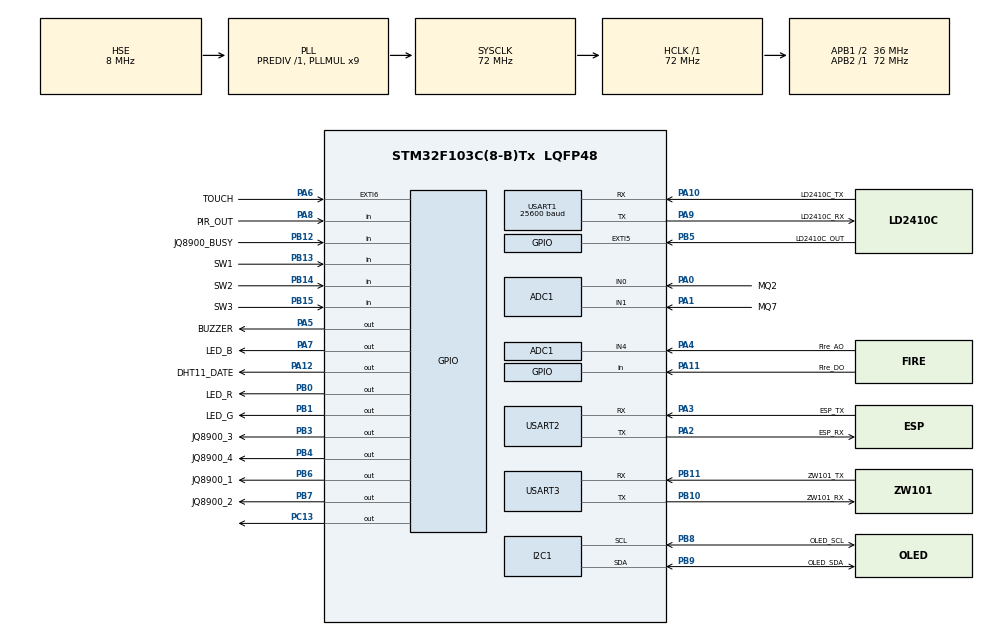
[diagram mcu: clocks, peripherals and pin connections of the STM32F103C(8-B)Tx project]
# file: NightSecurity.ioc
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ADC1.Channel-0\#ChannelRegularConversion=ADC_CHANNEL_0
ADC1.Channel-1\#ChannelRegularConversion=ADC_CHANNEL_1
ADC1.Channel-2\#ChannelRegularConversion=ADC_CHANNEL_4
ADC1.ExternalTrigConv=ADC_EXTERNALTRIGCONV_T3_TRGO
ADC1.NbrOfConversion=3
ADC1.NbrOfConversionFlag=1
ADC1.Rank-0\#ChannelRegularConversion=1
ADC1.Rank-1\#ChannelRegularConversion=2
ADC1.Rank-2\#ChannelRegularConversion=3
ADC1.SamplingTime-0\#ChannelRegularConversion=ADC_SAMPLETIME_239CYCLES_5
ADC1.SamplingTime-1\#ChannelRegularConversion=ADC_SAMPLETIME_239CYCLES_5
ADC1.SamplingTime-2\#ChannelRegularConversion=ADC_SAMPLETIME_239CYCLES_5
ADC1.master=1
Dma.ADC1.0.Direction=DMA_PERIPH_TO_MEMORY
Dma.ADC1.0.Instance=DMA1_Channel1
Dma.ADC1.0.MemDataAlignment=DMA_MDATAALIGN_HALFWORD
Dma.ADC1.0.MemInc=DMA_MINC_ENABLE
Dma.ADC1.0.Mode=DMA_CIRCULAR
Dma.ADC1.0.PeriphDataAlignment=DMA_PDATAALIGN_HALFWORD
Dma.ADC1.0.PeriphInc=DMA_PINC_DISABLE
Dma.ADC1.0.Priority=DMA_PRIORITY_LOW
Dma.Request0=ADC1
Dma.Request1=USART1_RX
Dma.Request2=USART2_RX
Dma.USART1_RX.1.Direction=DMA_PERIPH_TO_MEMORY
Dma.USART1_RX.1.Instance=DMA1_Channel5
Dma.USART1_RX.1.MemDataAlignment=DMA_MDATAALIGN_BYTE
Dma.USART1_RX.1.MemInc=DMA_MINC_ENABLE
Dma.USART1_RX.1.Mode=DMA_CIRCULAR
Dma.USART1_RX.1.PeriphDataAlignment=DMA_PDATAALIGN_BYTE
Dma.USART1_RX.1.PeriphInc=DMA_PINC_DISABLE
Dma.USART1_RX.1.Priority=DMA_PRIORITY_LOW
Dma.USART2_RX.2.Direction=DMA_PERIPH_TO_MEMORY
Dma.USART2_RX.2.Instance=DMA1_Channel6
Dma.USART2_RX.2.MemDataAlignment=DMA_MDATAALIGN_BYTE
Dma.USART2_RX.2.MemInc=DMA_MINC_ENABLE
Dma.USART2_RX.2.Mode=DMA_CIRCULAR
Dma.USART2_RX.2.PeriphDataAlignment=DMA_PDATAALIGN_BYTE
Dma.USART2_RX.2.PeriphInc=DMA_PINC_DISABLE
Dma.USART2_RX.2.Priority=DMA_PRIORITY_LOW
FREERTOS.Tasks01=defaultTask,24,128,StartDefaultTask,Default,NULL,Dynamic,NULL,NULL
FREERTOS.configCHECK_FOR_STACK_OVERFLOW=1
FREERTOS.configTOTAL_HEAP_SIZE=10240
FREERTOS.configUSE_NEWLIB_REENTRANT=1
I2C1.I2C_Mode=I2C_Fast
IWDG.Prescaler=IWDG_PRESCALER_64
IWDG.Reload=3125
Mcu.Family=STM32F1
Mcu.Name=STM32F103C(8-B)Tx
Mcu.Package=LQFP48
NVIC.DMA1_Channel1_IRQn=true\:5\:0\:false\:false\:true\:false\:true\:true\:true
NVIC.DMA1_Channel5_IRQn=true\:5\:0\:false\:false\:true\:false\:true\:true\:true
NVIC.DMA1_Channel6_IRQn=true\:5\:0\:false\:false\:true\:false\:true\:true\:true
NVIC.PriorityGroup=NVIC_PRIORITYGROUP_4
NVIC.TIM2_IRQn=true\:5\:0\:false\:false\:true\:true\:true\:true\:true
NVIC.TIM3_IRQn=true\:5\:0\:false\:false\:true\:true\:true\:true\:true
NVIC.TIM4_IRQn=true\:15\:0\:false\:false\:true\:false\:true\:true\:true
NVIC.TimeBase=TIM4_IRQn
NVIC.TimeBaseIP=TIM4
NVIC.USART1_IRQn=true\:5\:0\:false\:false\:true\:true\:true\:true\:true
NVIC.USART2_IRQn=true\:5\:0\:false\:false\:true\:true\:true\:true\:true
NVIC.USART3_IRQn=true\:5\:0\:false\:false\:true\:true\:true\:true\:true
PA0-WKUP.GPIO_Label=MQ2
PA0-WKUP.Signal=ADCx_IN0
PA1.GPIO_Label=MQ7
PA1.Signal=ADCx_IN1
PA10.GPIO_Label=LD2410C_TX
PA10.Mode=Asynchronous
PA10.Signal=USART1_RX
PA11.GPIO_Label=Fire_DO
PA11.GPIO_PuPd=GPIO_PULLUP
PA11.Signal=GPIO_Input
PA12.GPIO_Label=DHT11_DATE
PA12.GPIO_ModeDefaultOutputPP=GPIO_MODE_OUTPUT_OD
PA12.GPIO_PuPd=GPIO_NOPULL
PA12.PinState=GPIO_PIN_SET
PA12.Signal=GPIO_Output
PA13.Mode=Serial_Wire
PA13.Signal=SYS_JTMS-SWDIO
PA14.Mode=Serial_Wire
PA14.Signal=SYS_JTCK-SWCLK
PA2.GPIO_Label=ESP_RX
PA2.Mode=Asynchronous
PA2.Signal=USART2_TX
PA3.GPIO_Label=ESP_TX
PA3.Mode=Asynchronous
PA3.Signal=USART2_RX
PA4.GPIO_Label=Fire_AO
PA4.Signal=ADCx_IN4
PA5.GPIO_Label=BUZZER
PA5.PinState=GPIO_PIN_SET
PA5.Signal=GPIO_Output
PA6.GPIO_Label=TOUCH
PA6.GPIO_ModeDefaultEXTI=GPIO_MODE_IT_RISING
PA6.Signal=GPXTI6
PA7.GPIO_Label=LED_B
PA7.PinState=GPIO_PIN_SET
PA7.Signal=GPIO_Output
PA8.GPIO_Label=PIR_OUT
PA8.GPIO_PuPd=GPIO_PULLDOWN
PA8.Signal=GPIO_Input
PA9.GPIO_Label=LD2410C_RX
PA9.Mode=Asynchronous
PA9.Signal=USART1_TX
PB0.GPIO_Label=LED_R
PB0.PinState=GPIO_PIN_SET
PB0.Signal=GPIO_Output
PB1.GPIO_Label=LED_G
PB1.PinState=GPIO_PIN_SET
PB1.Signal=GPIO_Output
PB10.GPIO_Label=ZW101_RX
PB10.Mode=Asynchronous
PB10.Signal=USART3_TX
PB11.GPIO_Label=ZW101_TX
PB11.Mode=Asynchronous
PB11.Signal=USART3_RX
PB12.GPIO_Label=JQ8900_BUSY
PB12.Signal=GPIO_Input
PB13.GPIO_Label=SW1
PB13.GPIO_PuPd=GPIO_PULLUP
PB13.Signal=GPIO_Input
PB14.GPIO_Label=SW2
PB14.GPIO_PuPd=GPIO_PULLUP
PB14.Signal=GPIO_Input
PB15.GPIO_Label=SW3
PB15.GPIO_PuPd=GPIO_PULLUP
PB15.Signal=GPIO_Input
PB3.GPIO_Label=JQ8900_3
PB3.PinState=GPIO_PIN_SET
PB3.Signal=GPIO_Output
PB4.GPIO_Label=JQ8900_4
PB4.PinState=GPIO_PIN_SET
PB4.Signal=GPIO_Output
PB5.GPIO_Label=LD2410C_OUT
PB5.GPIO_ModeDefaultEXTI=GPIO_MODE_IT_RISING_FALLING
PB5.Signal=GPXTI5
PB6.GPIO_Label=JQ8900_1
PB6.PinState=GPIO_PIN_SET
PB6.Signal=GPIO_Output
PB7.GPIO_Label=JQ8900_2
PB7.PinState=GPIO_PIN_SET
PB7.Signal=GPIO_Output
PB8.GPIO_Label=OLED_SCL
PB8.Mode=I2C
PB8.Signal=I2C1_SCL
PB9.GPIO_Label=OLED_SDA
PB9.Mode=I2C
PB9.Signal=I2C1_SDA
PC13-TAMPER-RTC.GPIO_PuPd=GPIO_PULLDOWN
PC13-TAMPER-RTC.PinState=GPIO_PIN_SET
PC13-TAMPER-RTC.Signal=GPIO_Output
PC14-OSC32_IN.Mode=LSE-External-Oscillator
PC14-OSC32_IN.Signal=RCC_OSC32_IN
PC15-OSC32_OUT.Mode=LSE-External-Oscillator
PC15-OSC32_OUT.Signal=RCC_OSC32_OUT
PD0-OSC_IN.Mode=HSE-External-Oscillator
PD0-OSC_IN.Signal=RCC_OSC_IN
PD1-OSC_OUT.Mode=HSE-External-Oscillator
PD1-OSC_OUT.Signal=RCC_OSC_OUT
ProjectManager.HeapSize=0x200
ProjectManager.StackSize=0x400
ProjectManager.TargetToolchain=STM32CubeIDE
RCC.ADCPresc=RCC_ADCPCLK2_DIV6
RCC.AHBFreq_Value=72000000
RCC.APB1CLKDivider=RCC_HCLK_DIV2
RCC.APB1Freq_Value=36000000
RCC.APB1TimFreq_Value=72000000
RCC.APB2Freq_Value=72000000
RCC.APB2TimFreq_Value=72000000
RCC.HCLKFreq_Value=72000000
RCC.PLLMUL=RCC_PLL_MUL9
RCC.PLLSourceVirtual=RCC_PLLSOURCE_HSE
RCC.SYSCLKFreq_VALUE=72000000
RCC.SYSCLKSource=RCC_SYSCLKSOURCE_PLLCLK
RCC.USBFreq_Value=72000000
SH.ADCx_IN0.0=ADC1_IN0,IN0
SH.ADCx_IN1.0=ADC1_IN1,IN1
SH.ADCx_IN4.0=ADC1_IN4,IN4
TIM2.Prescaler=71
TIM3.Period=999
TIM3.Prescaler=7199
TIM3.TIM_MasterOutputTrigger=TIM_TRGO_UPDATE
USART1.BaudRate=25600
USART1.VirtualMode=VM_ASYNC
USART2.VirtualMode=VM_ASYNC
USART3.VirtualMode=VM_ASYNC
VP_FREERTOS_VS_CMSIS_V2.Mode=CMSIS_V2
VP_IWDG_VS_IWDG.Mode=IWDG_Activate
VP_RTC_VS_RTC_Activate.Mode=RTC_Enabled
VP_SYS_VS_tim4.Mode=TIM4
VP_TIM2_VS_ClockSourceINT.Mode=Internal
VP_TIM3_VS_ClockSourceINT.Mode=Internal
board=custom

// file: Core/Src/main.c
/* USER CODE BEGIN Header */
/**
  ******************************************************************************
  * @file           : main.c
  * @brief          : Main program body
  ******************************************************************************
  * @attention
  *
  * Copyright (c) 2026 STMicroelectronics.
  * All rights reserved.
  *
  * This software is licensed under terms that can be found in the LICENSE file
  * in the root directory of this software component.
  * If no LICENSE file comes with this software, it is provided AS-IS.
  *
  ******************************************************************************
  */
/* USER CODE END Header */
#include "main.h"
#include "cmsis_os.h"
#include "adc.h"
#include "dma.h"
#include "i2c.h"
#include "iwdg.h"
#include "rtc.h"
#include "tim.h"
#include "usart.h"
#include "gpio.h"

/* USER CODE BEGIN Includes */
#include "oled.h"
#include "mq7.h"
#include "buzzer.h"
#include "esp8266.h"
#include "radar.h"
#include <stdio.h>
/* USER CODE END Includes */

/* USER CODE BEGIN PV */
uint16_t g_adc_raw[3] = {0};//ADC DMA 缓冲区：TIM3 每 100ms 触发一次扫描, 3 通道结果由 DMA 自动填入
/* USER CODE END PV */

void SystemClock_Config(void);
void MX_FREERTOS_Init(void);

int main(void)
{

  /* MCU Configuration--------------------------------------------------------*/

  /* Reset of all peripherals, Initializes the Flash interface and the Systick. */
  HAL_Init();

  /* Configure the system clock */
  SystemClock_Config();

  /* Initialize all configured peripherals */
  MX_GPIO_Init();
  MX_DMA_Init();
  MX_ADC1_Init();
  MX_USART1_UART_Init();
  MX_USART2_UART_Init();
  MX_USART3_UART_Init();
  MX_I2C1_Init();
  MX_RTC_Init();
  MX_TIM2_Init();
  MX_TIM3_Init();
  MX_IWDG_Init();
  /* USER CODE BEGIN 2 */
  /* ====== 调试: 验证 OLED 硬件正常 ====== */
  OLED_Init();
  OLED_Clear();
  OLED_PrintString(0, 0, "OLED OK");
  HAL_Delay(2000);

  /* 初始化外设默认状态 */
  Buzzer_Off();                                        /* 蜂鸣器初始关 */
  Radar_Init();                                        /* 雷达 DMA 接收启动    */
  Esp8266_Init();                                      /* ESP8266 DMA 接收启动 */

  /* 启动 ADC DMA 供 SensorTask 使用 */
  HAL_TIM_Base_Start(&htim3);
  HAL_ADC_Start_DMA(&hadc1, (uint32_t*)g_adc_raw, 3);
  /* USER CODE END 2 */

  /* Init scheduler */
  osKernelInitialize();  /* Call init function for freertos objects (in cmsis_os2.c) */
  MX_FREERTOS_Init();

  /* Start scheduler */
  osKernelStart();

  /* We should never get here as control is now taken by the scheduler */

  /* Infinite loop */
  while (1)
  {

  }
}

void SystemClock_Config(void)
{
  RCC_OscInitTypeDef RCC_OscInitStruct = {0};
  RCC_ClkInitTypeDef RCC_ClkInitStruct = {0};
  RCC_PeriphCLKInitTypeDef PeriphClkInit = {0};

  /** Initializes the RCC Oscillators according to the specified parameters
  * in the RCC_OscInitTypeDef structure.
  */
  RCC_OscInitStruct.OscillatorType = RCC_OSCILLATORTYPE_LSI|RCC_OSCILLATORTYPE_HSE;
  RCC_OscInitStruct.HSEState = RCC_HSE_ON;
  RCC_OscInitStruct.HSEPredivValue = RCC_HSE_PREDIV_DIV1;
  RCC_OscInitStruct.HSIState = RCC_HSI_ON;
  RCC_OscInitStruct.LSIState = RCC_LSI_ON;
  RCC_OscInitStruct.PLL.PLLState = RCC_PLL_ON;
  RCC_OscInitStruct.PLL.PLLSource = RCC_PLLSOURCE_HSE;
  RCC_OscInitStruct.PLL.PLLMUL = RCC_PLL_MUL9;
  if (HAL_RCC_OscConfig(&RCC_OscInitStruct) != HAL_OK)
  {
    Error_Handler();
  }

  /** Initializes the CPU, AHB and APB buses clocks
  */
  RCC_ClkInitStruct.ClockType = RCC_CLOCKTYPE_HCLK|RCC_CLOCKTYPE_SYSCLK
                              |RCC_CLOCKTYPE_PCLK1|RCC_CLOCKTYPE_PCLK2;
  RCC_ClkInitStruct.SYSCLKSource = RCC_SYSCLKSOURCE_PLLCLK;
  RCC_ClkInitStruct.AHBCLKDivider = RCC_SYSCLK_DIV1;
  RCC_ClkInitStruct.APB1CLKDivider = RCC_HCLK_DIV2;
  RCC_ClkInitStruct.APB2CLKDivider = RCC_HCLK_DIV1;

  if (HAL_RCC_ClockConfig(&RCC_ClkInitStruct, FLASH_LATENCY_2) != HAL_OK)
  {
    Error_Handler();
  }
  PeriphClkInit.PeriphClockSelection = RCC_PERIPHCLK_RTC|RCC_PERIPHCLK_ADC;
  PeriphClkInit.RTCClockSelection = RCC_RTCCLKSOURCE_LSI;
  PeriphClkInit.AdcClockSelection = RCC_ADCPCLK2_DIV6;
  if (HAL_RCCEx_PeriphCLKConfig(&PeriphClkInit) != HAL_OK)
  {
    Error_Handler();
  }
}

void HAL_TIM_PeriodElapsedCallback(TIM_HandleTypeDef *htim)
{
  if (htim->Instance == TIM4)
  {
    HAL_IncTick();
  }
}

void Error_Handler(void)
{
  __disable_irq();
  while (1)
  {
  }
}

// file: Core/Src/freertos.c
/* USER CODE BEGIN Header */
/**
  ******************************************************************************
  * File Name          : freertos.c
  * Description        : Code for freertos applications
  ******************************************************************************
  * @attention
  *
  * Copyright (c) 2026 STMicroelectronics.
  * All rights reserved.
  *
  * This software is licensed under terms that can be found in the LICENSE file
  * in the root directory of this software component.
  * If no LICENSE file comes with this software, it is provided AS-IS.
  *
  ******************************************************************************
  */
/* USER CODE END Header */

#include "FreeRTOS.h"
#include "task.h"
#include "main.h"
#include "cmsis_os.h"

/* USER CODE BEGIN Includes */
#include "task_config.h"
/* USER CODE END Includes */

/* Definitions for defaultTask */
osThreadId_t defaultTaskHandle;
const osThreadAttr_t defaultTask_attributes = {
  .name = "defaultTask",
  .stack_size = 128 * 4,
  .priority = (osPriority_t) osPriorityNormal,
};

void StartDefaultTask(void *argument);

void MX_FREERTOS_Init(void); /* (MISRA C 2004 rule 8.1) */

/* Hook prototypes */
void vApplicationStackOverflowHook(xTaskHandle xTask, signed char *pcTaskName);

/* USER CODE BEGIN 4 */
void vApplicationStackOverflowHook(xTaskHandle xTask, signed char *pcTaskName)
{
   /* Run time stack overflow checking is performed if
   configCHECK_FOR_STACK_OVERFLOW is defined to 1 or 2. This hook function is
   called if a stack overflow is detected. */
}
/* USER CODE END 4 */

void MX_FREERTOS_Init(void) {

  /* USER CODE BEGIN RTOS_QUEUES */
  /* add queues, ... */
	g_sensorQueue = xQueueCreate(5,sizeof(SensorPacket));
	g_securityQueue = xQueueCreate(5,sizeof(AlarmCMD));
	g_cmdQueue      = xQueueCreate(2,sizeof(CloudRxPacket));  /* CommTask→SecurityTask (省RAM) */
  /* USER CODE END RTOS_QUEUES */

  /* Create the thread(s) */
  /* creation of defaultTask */
  //defaultTaskHandle = osThreadNew(StartDefaultTask, NULL, &defaultTask_attributes);

  /* USER CODE BEGIN RTOS_THREADS */
  /* add threads, ... */
	xTaskCreate(SensorTask,"Sensor",256,NULL,3,&g_SensorTaskHandle);//火灾/入侵的各类传感器读取数据
	xTaskCreate(SecurityTask,"Security",320,NULL,4,&g_SecurityTaskHandle);//对传感器数据融合处理(省RAM)
	xTaskCreate(AlarmTask,"Alarm",256,NULL,5,&g_AlarmTaskHandle);//由处理后的数据进行本地声光报警
	xTaskCreate(UITask,"UI",320,NULL,2,&g_UITaskHandle);//OLED显示各数据，菜单状态机，按键控制。(省RAM)
	xTaskCreate(FingerTask,"Finger",256,NULL,2,&g_FingerTaskHandle);//指纹验证
	xTaskCreate(WatchdogTask, "Watchdog", 128, NULL, 6, &g_WatchdogTaskHandle);//看门狗
	xTaskCreate(CommTask,  "Comm",  256, NULL, 3, &g_CommTaskHandle);   //MQTT协议+JSON
  /* USER CODE END RTOS_THREADS */

}

void StartDefaultTask(void *argument)
{
  for(;;)
  {
  }
}
